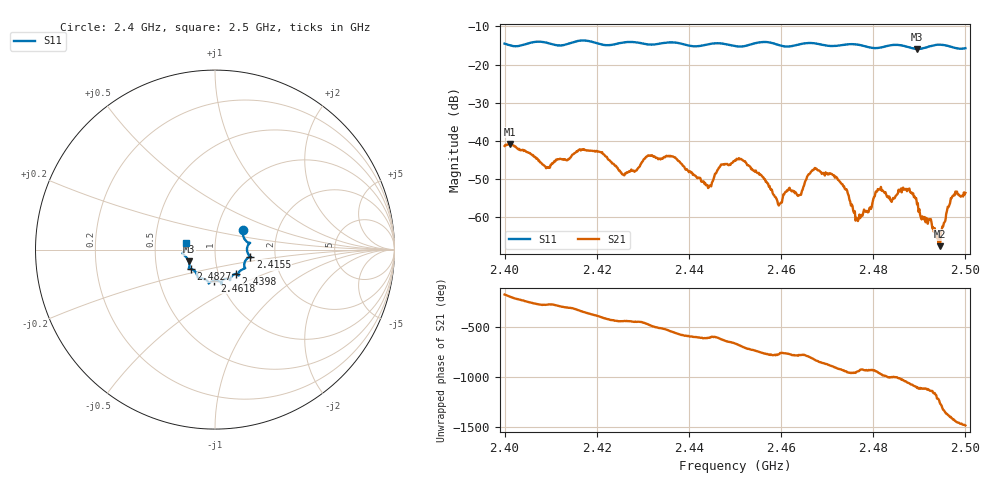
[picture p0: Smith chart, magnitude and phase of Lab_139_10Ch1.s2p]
# Hz S RI R 50
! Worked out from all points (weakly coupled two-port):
!   601 points, 2.4 GHz to 2.5 GHz, reference 50 ohm
!   highest |S21| = -40.88 dB at 2.4012 GHz (marker M1); lowest = -67.7 dB at 2.4945 GHz (marker M2)
!   lowest |S11| = -15.9 dB at 2.4895 GHz (marker M3), VSWR 1.38, Z = 37 - j5.01 ohm
!   |S11| at or under -10 dB: start of sweep to end of sweep
!   S12 and S22 are empty: the file has one direction only
!   S11 on the Smith chart (normalised r, x): 2.4 GHz: 1.33, +0.29; 2.4155 GHz: 1.49, -0.12; 2.4398 GHz: 1.21, -0.34; 2.4618 GHz: 0.94, -0.33; 2.4827 GHz: 0.75, -0.17; 2.5 GHz: 0.72, +0.06
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2.4e9  0.1552 0.1066  -0.00851 -0.000553  0 0  0 0
2.401167e9  0.1553 0.0882  -0.00865 0.0026  0 0  0 0
2.409333e9  0.1893 0.0323  0.000559 0.00446  0 0  0 0
2.4155e9  0.1974 -0.0398  0.00576 0.00409  0 0  0 0
2.416667e9  0.2023 -0.043  0.00722 0.00215  0 0  0 0
2.425833e9  0.1668 -0.1011  0.000431 -0.00351  0 0  0 0
2.433333e9  0.1297 -0.1342  -0.00495 -0.00283  0 0  0 0
2.439833e9  0.1152 -0.1356  -0.00252 0.00312  0 0  0 0
2.444333e9  0.0846 -0.1651  -0.000818 0.00231  0 0  0 0
2.45e9  0.0652 -0.1624  0.00338 0.00437  0 0  0 0
2.459667e9  0.0245 -0.1773  0.000935 -0.00113  0 0  0 0
2.461833e9  -0.00338 -0.1729  0.0014 -0.00195  0 0  0 0
2.464e9  -0.028 -0.1825  0.000859 -0.00172  0 0  0 0
2.466667e9  -0.035 -0.1881  -0.000232 -0.00399  0 0  0 0
2.472333e9  -0.0741 -0.1602  -0.00287 0.00107  0 0  0 0
2.476667e9  -0.0963 -0.1548  -0.000602 0.000642  0 0  0 0
2.482667e9  -0.1347 -0.1085  8.94e-05 0.0021  0 0  0 0
2.483333e9  -0.1399 -0.1081  0.000439 0.00171  0 0  0 0
2.4895e9  -0.146 -0.066  0.00122 -0.000798  0 0  0 0
2.4945e9  -0.1807 -0.0209  -0.000406 6.76e-05  0 0  0 0
2.497333e9  -0.1678 -0.00355  0.00186 0.000292  0 0  0 0
2.5e9  -0.1592 0.0389  0.00134 -0.00157  0 0  0 0
